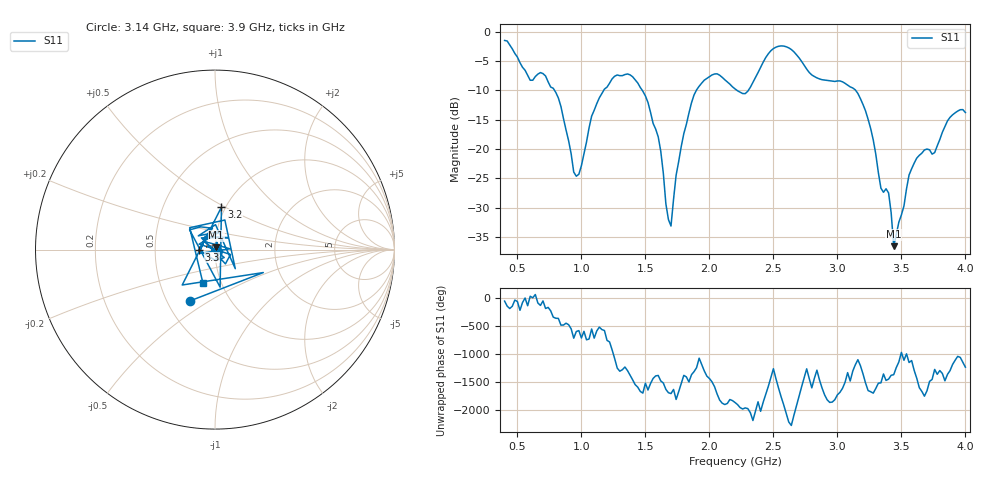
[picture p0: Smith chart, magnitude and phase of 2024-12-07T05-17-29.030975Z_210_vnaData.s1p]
!Created with skrf (http://scikit-rf.org).
# Hz S RI R 50.0
!freq ReS11 ImS11
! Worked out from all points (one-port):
!   181 points, 400 MHz to 4 GHz, reference 50 ohm
!   lowest |S11| = -36.6 dB at 3.44 GHz (marker M1), VSWR 1.03, Z = 50.6 + j1.37 ohm
!   |S11| at or under -10 dB: 790.3 MHz to 1.174 GHz (383.7 MHz wide, 39.1 % of centre); 1.476 GHz to 1.898 GHz (421.9 MHz wide, 25 % of centre); 3.143 GHz to end of sweep (the widest 3 of 4)
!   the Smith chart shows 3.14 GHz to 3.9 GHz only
!   S11 on the Smith chart (normalised r, x): 3.14 GHz: 0.65, -0.41; 3.2 GHz: 0.96, +0.48; 3.3 GHz: 0.83, +0.00; 3.9 GHz: 0.82, -0.31
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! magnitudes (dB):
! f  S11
! 400 MHz  -1.5
! 600 MHz  -8.3
! 720 MHz  -7.5
! 860 MHz  -14.8
! 960 MHz  -24.6
! 1.12 GHz  -12.3
! 1.3 GHz  -7.5
! 1.52 GHz  -12.0
! 1.6 GHz  -17.9
! 1.66 GHz  -29.4
! 1.7 GHz  -33.1
! 1.76 GHz  -22.1
! 1.92 GHz  -9.3
! 2.06 GHz  -7.2
! 2.2 GHz  -9.7
! 2.3 GHz  -10.1
! 2.5 GHz  -2.9
! 2.66 GHz  -3.4
! 3.1 GHz  -9.4
! 3.14 GHz  -9.9
! 3.2 GHz  -12.4
! 3.3 GHz  -20.9
! 3.34 GHz  -26.7
! 3.4 GHz  -27.5
! 3.44 GHz  -36.6
! 3.56 GHz  -24.4
! 3.9 GHz  -14.2
! 4 GHz  -13.8
